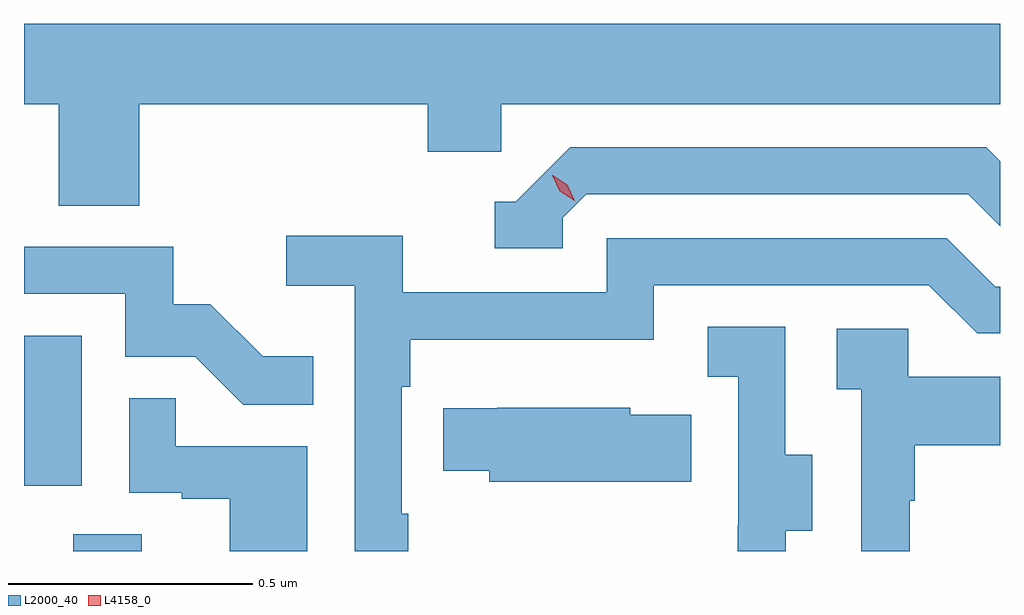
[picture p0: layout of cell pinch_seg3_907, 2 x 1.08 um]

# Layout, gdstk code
import gdstk
lib = gdstk.Library(unit=1e-6, precision=1e-09)
def R(c, l, rs):  # rectangles x0, y0, x1, y1
    for r in rs: c.add(gdstk.rectangle(r[:2], r[2:], *l))
def P(c, l, *ps):  # polygons
    for p in ps: c.add(gdstk.Polygon(p, *l))
L2000_40 = (2000, 40)
L4158_0 = (4158, 0)

pinch_seg3_907 = lib.new_cell('pinch_seg3_907')
R(pinch_seg3_907, L2000_40, [(857.885,705.328,858.025,705.362), (857.784,705.462,857.902,705.769)])
P(pinch_seg3_907, L2000_40, [(858.02,706.244),(858.611,706.244),(858.611,706.146),(858.762,706.146),(858.762,706.244),(859.784,706.244),(859.784,706.408),(857.784,706.408),(857.784,706.244),(857.855,706.244),(857.855,706.036),(858.02,706.036)],
  [(858.888,706.011),(858.936,706.059),(859.719,706.059),(859.784,705.994),(859.784,706.127),(859.756,706.155),(858.903,706.155),(858.792,706.044),(858.749,706.044),(858.749,705.948),(858.888,705.948)],
  [(858.571,705.404),(858.558,705.404),(858.558,705.665),(858.575,705.665),(858.575,705.761),(859.074,705.761),(859.074,705.873),(859.638,705.873),(859.737,705.774),(859.784,705.774),(859.784,705.87),(859.774,705.87),(859.675,705.969),(858.978,705.969),(858.978,705.858),(858.56,705.858),(858.56,705.974),(858.321,705.974),(858.321,705.872),(858.462,705.872),(858.462,705.328),(858.571,705.328)],
  [(858.377,705.727),(858.273,705.727),(858.166,705.834),(858.09,705.834),(858.09,705.951),(857.784,705.951),(857.784,705.855),(857.991,705.855),(857.991,705.726),(858.135,705.726),(858.233,705.628),(858.377,705.628)],
  [(859.345,705.37),(859.399,705.37),(859.399,705.525),(859.344,705.525),(859.344,705.788),(859.185,705.788),(859.185,705.685),(859.248,705.685),(859.248,705.381),(859.247,705.381),(859.247,705.328),(859.345,705.328)],
  [(859.599,705.431),(859.609,705.431),(859.609,705.545),(859.784,705.545),(859.784,705.685),(859.596,705.685),(859.596,705.783),(859.449,705.783),(859.449,705.659),(859.5,705.659),(859.5,705.328),(859.599,705.328)],
  [(858.364,705.543),(858.095,705.543),(858.095,705.641),(858,705.641),(858,705.447),(858.107,705.447),(858.107,705.435),(858.206,705.435),(858.206,705.328),(858.364,705.328)],
  [(859.151,705.607),(859.026,705.607),(859.026,705.622),(858.754,705.622),(858.754,705.621),(858.643,705.621),(858.643,705.493),(858.737,705.493),(858.737,705.47),(859.151,705.47)])
P(pinch_seg3_907, L4158_0, [(858.913,706.046),(858.882,706.065),(858.866,706.098),(858.866,706.098),(858.867,706.098),(858.897,706.079),(858.913,706.046),(858.913,706.046)])

lib.write_gds('pinch_seg3_907.gds')
